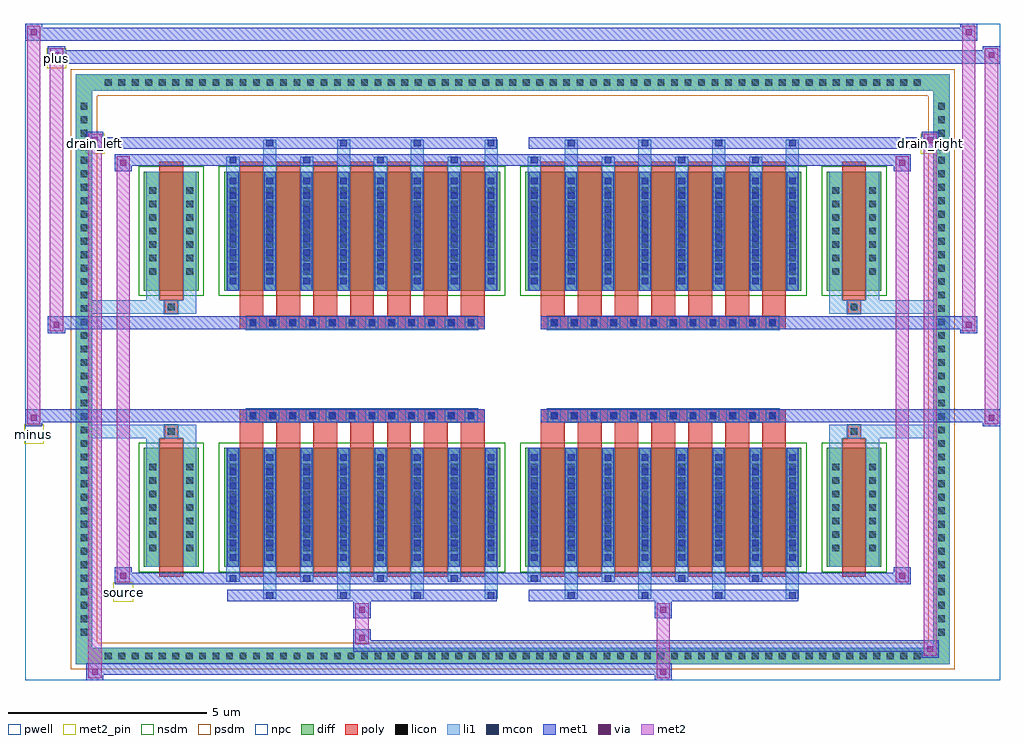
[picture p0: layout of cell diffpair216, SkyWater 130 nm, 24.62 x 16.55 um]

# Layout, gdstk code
import gdstk
lib = gdstk.Library(unit=1e-6, precision=5e-09)
def R(c, l, rs):  # rectangles x0, y0, x1, y1
    for r in rs: c.add(gdstk.rectangle(r[:2], r[2:], *l))
def A(c, l, x, y, w, h, nx, ny, dx, dy):  # array of equal rectangles
    R(c, l, [(x+i*dx, y+j*dy, x+i*dx+w, y+j*dy+h) for i in range(nx) for j in range(ny)])
def P(c, l, *ps):  # polygons
    for p in ps: c.add(gdstk.Polygon(p, *l))
pwell = (64, 44)
diff = (65, 20)
poly = (66, 20)
licon = (66, 44)
li1 = (67, 20)
mcon = (67, 44)
met1 = (68, 20)
via = (68, 44)
met2_pin = (69, 16)
met2 = (69, 20)
nsdm = (93, 44)
psdm = (94, 20)
npc = (95, 20)

diffpair216 = lib.new_cell('diffpair216')
R(diffpair216, pwell, [(-12.29,-7.84,12.29,8.71), (-9.61,-6.03,-0.01,-0.805), (0.01,-6.03,9.61,-0.805), (-9.61,0.805,-0.01,6.03), (0.01,0.805,9.61,6.03)])
A(diffpair216, diff, -10.405, -7.44, 0.41, 0.41, 61, 2, 0.34, 14.47)
A(diffpair216, diff, -11.02, -6.835, 0.41, 0.41, 1, 40, 0, 0.34)
A(diffpair216, diff, 10.61, -6.835, 0.41, 0.41, 1, 40, 0, 0.34)
R(diffpair216, diff, [(-10.405,-7.44,10.405,-7.03), (-11.02,-6.835,-10.61,6.835), (10.61,-6.835,11.02,6.835), (-9.3,-4.985,-7.92,-1.985), (-7.28,-4.985,-0.32,-1.985), (0.32,-4.985,7.28,-1.985), (7.92,-4.985,9.3,-1.985), (-9.3,1.985,-7.92,4.985), (-7.28,1.985,-0.32,4.985), (0.32,1.985,7.28,4.985), (7.92,1.985,9.3,4.985), (-10.405,7.03,10.405,7.44)])
P(diffpair216, diff, [(11.02,7.44),(-11.02,7.44),(-11.02,-7.03),(-10.61,-7.03),(-10.61,7.03),(10.61,7.03),(10.61,-7.03),(-10.61,-7.03),(-11.02,-7.03),(-11.02,-7.44),(11.02,-7.44)])
A(diffpair216, poly, -6.89, -5.235, 0.6, 3.5, 7, 2, 0.93, 6.97)
A(diffpair216, poly, 0.71, -5.235, 0.6, 3.5, 7, 2, 0.93, 6.97)
A(diffpair216, poly, -6.89, -1.735, 0.6, 0.4, 7, 2, 0.93, 3.07)
A(diffpair216, poly, 0.71, -1.735, 0.6, 0.4, 7, 2, 0.93, 3.07)
A(diffpair216, poly, -6.715, -1.335, 0.33, 0.33, 12, 2, 0.5, 2.34)
A(diffpair216, poly, 0.885, -1.335, 0.33, 0.33, 12, 2, 0.5, 2.34)
R(diffpair216, poly, [(-8.91,-5.235,-8.31,-1.735), (8.31,-5.235,8.91,-1.735), (-8.775,-1.735,-8.445,-1.405), (-8.775,-1.735,-8.445,-1.405), (8.445,-1.735,8.775,-1.405), (8.445,-1.735,8.775,-1.405), (-6.89,-1.335,-0.71,-1.005), (0.71,-1.335,6.89,-1.005), (-6.89,1.005,-0.71,1.335), (0.71,1.005,6.89,1.335), (-8.775,1.405,-8.445,1.735), (-8.775,1.405,-8.445,1.735), (8.445,1.405,8.775,1.735), (8.445,1.405,8.775,1.735), (-8.91,1.735,-8.31,5.235), (8.31,1.735,8.91,5.235)])
A(diffpair216, licon, -10.285, -7.32, 0.17, 0.17, 61, 2, 0.34, 14.47)
A(diffpair216, licon, -10.9, -6.715, 0.17, 0.17, 1, 40, 0, 0.34)
A(diffpair216, licon, 10.73, -6.715, 0.17, 0.17, 1, 40, 0, 0.34)
A(diffpair216, licon, -9.16, -4.59, 0.17, 0.17, 1, 7, 0, 0.34)
A(diffpair216, licon, -8.23, -4.59, 0.17, 0.17, 1, 7, 0, 0.34)
A(diffpair216, licon, -7.14, -4.59, 0.17, 0.17, 8, 7, 0.93, 0.34)
A(diffpair216, licon, 0.46, -4.59, 0.17, 0.17, 8, 7, 0.93, 0.34)
A(diffpair216, licon, 8.06, -4.59, 0.17, 0.17, 1, 7, 0, 0.34)
A(diffpair216, licon, 8.99, -4.59, 0.17, 0.17, 1, 7, 0, 0.34)
A(diffpair216, licon, -6.635, -1.255, 0.17, 0.17, 12, 2, 0.5, 2.34)
A(diffpair216, licon, 0.965, -1.255, 0.17, 0.17, 12, 2, 0.5, 2.34)
A(diffpair216, licon, -9.16, 2.38, 0.17, 0.17, 1, 7, 0, 0.34)
A(diffpair216, licon, -8.23, 2.38, 0.17, 0.17, 1, 7, 0, 0.34)
A(diffpair216, licon, -7.14, 2.38, 0.17, 0.17, 8, 7, 0.93, 0.34)
A(diffpair216, licon, 0.46, 2.38, 0.17, 0.17, 8, 7, 0.93, 0.34)
A(diffpair216, licon, 8.06, 2.38, 0.17, 0.17, 1, 7, 0, 0.34)
A(diffpair216, licon, 8.99, 2.38, 0.17, 0.17, 1, 7, 0, 0.34)
R(diffpair216, licon, [(-8.695,-1.655,-8.525,-1.485), (8.525,-1.655,8.695,-1.485), (-8.695,1.485,-8.525,1.655), (8.525,1.485,8.695,1.655)])
A(diffpair216, li1, -10.365, -7.4, 0.33, 0.33, 61, 2, 0.34, 14.47)
A(diffpair216, li1, -10.98, -6.795, 0.33, 0.33, 1, 40, 0, 0.34)
A(diffpair216, li1, 10.65, -6.795, 0.33, 0.33, 1, 40, 0, 0.34)
A(diffpair216, li1, -6.29, -5.79, 0.33, 0.805, 4, 2, 1.86, 10.775)
A(diffpair216, li1, -6.21, -5.79, 0.17, 0.17, 4, 2, 1.86, 11.41)
A(diffpair216, li1, 1.31, -5.79, 0.33, 0.805, 4, 2, 1.86, 10.775)
A(diffpair216, li1, 1.39, -5.79, 0.17, 0.17, 4, 2, 1.86, 11.41)
A(diffpair216, li1, -7.22, -5.36, 0.33, 0.375, 4, 2, 1.86, 10.345)
A(diffpair216, li1, -7.14, -5.36, 0.17, 0.17, 4, 2, 1.86, 10.55)
A(diffpair216, li1, 0.38, -5.36, 0.33, 0.375, 4, 2, 1.86, 10.345)
A(diffpair216, li1, 0.46, -5.36, 0.17, 0.17, 4, 2, 1.86, 10.55)
A(diffpair216, li1, -7.22, -4.985, 0.33, 3, 8, 2, 0.93, 6.97)
A(diffpair216, li1, 0.38, -4.985, 0.33, 3, 8, 2, 0.93, 6.97)
A(diffpair216, li1, -7.14, -4.83, 0.17, 0.17, 8, 8, 0.93, 0.36)
A(diffpair216, li1, -7.14, -4.83, 0.17, 2.69, 8, 2, 0.93, 6.97)
A(diffpair216, li1, 0.46, -4.83, 0.17, 0.17, 8, 8, 0.93, 0.36)
A(diffpair216, li1, 0.46, -4.83, 0.17, 2.69, 8, 2, 0.93, 6.97)
A(diffpair216, li1, -9.24, -4.67, 0.33, 0.33, 1, 7, 0, 0.34)
A(diffpair216, li1, -8.31, -4.67, 0.33, 0.33, 1, 7, 0, 0.34)
A(diffpair216, li1, -7.22, -4.67, 0.33, 0.33, 8, 7, 0.93, 0.34)
A(diffpair216, li1, 0.38, -4.67, 0.33, 0.33, 8, 7, 0.93, 0.34)
A(diffpair216, li1, 7.98, -4.67, 0.33, 0.33, 1, 7, 0, 0.34)
A(diffpair216, li1, 8.91, -4.67, 0.33, 0.33, 1, 7, 0, 0.34)
A(diffpair216, li1, -6.715, -1.335, 0.33, 0.33, 12, 2, 0.5, 2.34)
A(diffpair216, li1, 0.885, -1.335, 0.33, 0.33, 12, 2, 0.5, 2.34)
A(diffpair216, li1, -7.14, 2.14, 0.17, 0.17, 8, 8, 0.93, 0.36)
A(diffpair216, li1, 0.46, 2.14, 0.17, 0.17, 8, 8, 0.93, 0.36)
A(diffpair216, li1, -9.24, 2.3, 0.33, 0.33, 1, 7, 0, 0.34)
A(diffpair216, li1, -8.31, 2.3, 0.33, 0.33, 1, 7, 0, 0.34)
A(diffpair216, li1, -7.22, 2.3, 0.33, 0.33, 8, 7, 0.93, 0.34)
A(diffpair216, li1, 0.38, 2.3, 0.33, 0.33, 8, 7, 0.93, 0.34)
A(diffpair216, li1, 7.98, 2.3, 0.33, 0.33, 1, 7, 0, 0.34)
A(diffpair216, li1, 8.91, 2.3, 0.33, 0.33, 1, 7, 0, 0.34)
R(diffpair216, li1, [(-11.02,-7.44,-10.61,-7.03), (-11.02,-7.44,-10.61,-7.03), (-10.61,-7.44,10.61,-7.03), (10.61,-7.44,11.02,-7.03), (10.61,-7.44,11.02,-7.03), (-11.02,-7.03,-10.61,7.03), (10.61,-7.03,11.02,7.03), (-9.24,-4.985,-8.91,-1.985), (-8.31,-4.985,-7.98,-1.985), (7.98,-4.985,8.31,-1.985), (8.91,-4.985,9.24,-1.985), (-9.24,-1.985,-8.91,-1.405), (-8.31,-1.985,-7.98,-1.405), (7.98,-1.985,8.31,-1.405), (8.91,-1.985,9.24,-1.405), (-11.02,-1.735,-8.775,-1.405), (-9.24,-1.735,-8.775,-1.405), (-8.775,-1.735,-8.445,-1.405), (-8.445,-1.735,-7.98,-1.405), (7.98,-1.735,8.445,-1.405), (8.445,-1.735,8.775,-1.405), (8.445,-1.735,11.02,-1.405), (8.775,-1.735,9.24,-1.405), (-11.02,1.405,-8.775,1.735), (-9.24,1.405,-8.775,1.735), (-9.24,1.405,-8.91,1.985), (-8.775,1.405,-8.445,1.735), (-8.445,1.405,-7.98,1.735), (-8.31,1.405,-7.98,1.985), (7.98,1.405,8.445,1.735), (7.98,1.405,8.31,1.985), (8.445,1.405,8.775,1.735), (8.445,1.405,11.02,1.735), (8.775,1.405,9.24,1.735), (8.91,1.405,9.24,1.985), (-9.24,1.985,-8.91,4.985), (-8.31,1.985,-7.98,4.985), (7.98,1.985,8.31,4.985), (8.91,1.985,9.24,4.985), (-11.02,7.03,-10.61,7.44), (-11.02,7.03,-10.61,7.44), (-10.61,7.03,10.61,7.44), (10.61,7.03,11.02,7.44), (10.61,7.03,11.02,7.44)])
A(diffpair216, mcon, -6.21, -5.79, 0.17, 0.17, 4, 2, 1.86, 11.41)
A(diffpair216, mcon, 1.39, -5.79, 0.17, 0.17, 4, 2, 1.86, 11.41)
A(diffpair216, mcon, -7.14, -5.36, 0.17, 0.17, 4, 2, 1.86, 10.55)
A(diffpair216, mcon, 0.46, -5.36, 0.17, 0.17, 4, 2, 1.86, 10.55)
A(diffpair216, mcon, -7.14, -4.83, 0.17, 0.17, 8, 8, 0.93, 0.36)
A(diffpair216, mcon, 0.46, -4.83, 0.17, 0.17, 8, 8, 0.93, 0.36)
A(diffpair216, mcon, -6.635, -1.255, 0.17, 0.17, 12, 2, 0.5, 2.34)
A(diffpair216, mcon, 0.965, -1.255, 0.17, 0.17, 12, 2, 0.5, 2.34)
A(diffpair216, mcon, -7.14, 2.14, 0.17, 0.17, 8, 8, 0.93, 0.36)
A(diffpair216, mcon, 0.46, 2.14, 0.17, 0.17, 8, 8, 0.93, 0.36)
A(diffpair216, met1, -6.27, -5.85, 0.29, 0.29, 4, 2, 1.86, 11.41)
A(diffpair216, met1, 1.33, -5.85, 0.29, 0.29, 4, 2, 1.86, 11.41)
A(diffpair216, met1, -7.2, -5.42, 0.29, 0.29, 4, 2, 1.86, 10.55)
A(diffpair216, met1, 0.4, -5.42, 0.29, 0.29, 4, 2, 1.86, 10.55)
A(diffpair216, met1, -7.2, -4.985, 0.29, 3, 8, 2, 0.93, 6.97)
A(diffpair216, met1, 0.4, -4.985, 0.29, 3, 8, 2, 0.93, 6.97)
A(diffpair216, met1, -7.2, -4.89, 0.29, 0.29, 8, 8, 0.93, 0.36)
A(diffpair216, met1, 0.4, -4.89, 0.29, 0.29, 8, 8, 0.93, 0.36)
A(diffpair216, met1, -6.695, -1.315, 0.29, 0.29, 12, 2, 0.5, 2.34)
A(diffpair216, met1, 0.905, -1.315, 0.29, 0.29, 12, 2, 0.5, 2.34)
A(diffpair216, met1, -7.2, 2.08, 0.29, 0.29, 8, 8, 0.93, 0.36)
A(diffpair216, met1, 0.4, 2.08, 0.29, 0.29, 8, 8, 0.93, 0.36)
R(diffpair216, met1, [(-10.75,-7.84,-10.32,-7.41), (3.585,-7.84,4.015,-7.41), (-10.75,-7.7,4.015,-7.41), (10.32,-7.27,10.75,-6.84), (-4.015,-7.13,10.75,-6.84), (-4.015,-6.99,-3.585,-6.56), (-4.015,-6.28,-3.585,-5.85), (3.585,-6.28,4.015,-5.85), (-7.2,-5.85,-0.4,-5.56), (0.4,-5.85,7.2,-5.56), (-10.04,-5.42,-9.61,-4.99), (-10.04,-5.42,-7.2,-5.13), (-7.2,-5.42,-0.4,-5.13), (-0.4,-5.42,0.4,-5.13), (0.4,-5.42,7.2,-5.13), (7.2,-5.42,10.04,-5.13), (9.61,-5.42,10.04,-4.99), (-12.29,-1.435,-11.86,-1.005), (11.86,-1.435,12.29,-1.005), (-12.29,-1.335,-0.71,-1.005), (-6.89,-1.335,-0.71,-1.005), (0.71,-1.335,6.89,-1.005), (0.71,-1.335,12.29,-1.005), (-11.72,0.905,-11.29,1.335), (11.29,0.905,11.72,1.335), (-11.72,1.005,-6.89,1.335), (-6.89,1.005,-0.71,1.335), (0.71,1.005,6.89,1.335), (6.89,1.005,11.72,1.335), (-10.04,4.99,-9.61,5.42), (9.61,4.99,10.04,5.42), (-10.04,5.13,-7.2,5.42), (-7.2,5.13,-0.4,5.42), (-0.4,5.13,0.4,5.42), (0.4,5.13,7.2,5.42), (7.2,5.13,10.04,5.42), (-10.75,5.56,-10.32,5.99), (-10.75,5.56,-7.2,5.85), (-7.2,5.56,-0.4,5.85), (0.4,5.56,7.2,5.85), (7.2,5.56,10.75,5.85), (10.32,5.56,10.75,5.99), (-11.72,7.71,-11.29,8.14), (-11.72,7.71,-9.61,8.04), (-9.61,7.71,9.61,8.04), (9.61,7.71,12.29,8.04), (11.86,7.71,12.29,8.14), (-12.29,8.28,-11.86,8.71), (-12.29,8.28,-9.61,8.61), (-9.61,8.28,9.61,8.61), (9.61,8.28,11.72,8.61), (11.29,8.28,11.72,8.71)])
R(diffpair216, via, [(-10.61,-7.7,-10.46,-7.55), (3.725,-7.7,3.875,-7.55), (10.46,-7.13,10.61,-6.98), (-3.875,-6.85,-3.725,-6.7), (-3.875,-6.14,-3.725,-5.99), (3.725,-6.14,3.875,-5.99), (-9.9,-5.28,-9.75,-5.13), (9.75,-5.28,9.9,-5.13), (-12.15,-1.295,-12,-1.145), (12,-1.295,12.15,-1.145), (-11.58,1.045,-11.43,1.195), (11.43,1.045,11.58,1.195), (-9.9,5.13,-9.75,5.28), (9.75,5.13,9.9,5.28), (-10.61,5.7,-10.46,5.85), (10.46,5.7,10.61,5.85), (-11.58,7.85,-11.43,8), (12,7.85,12.15,8), (-12.15,8.42,-12,8.57), (11.43,8.42,11.58,8.57)])
R(diffpair216, met2_pin, [(-10.075,-5.87,-9.575,-5.37), (-12.325,-1.885,-11.825,-1.385), (-10.785,5.44,-10.285,5.94), (10.285,5.44,10.785,5.94), (-11.755,7.59,-11.255,8.09)])
R(diffpair216, met2, [(-10.7,-7.79,-10.37,-7.46), (-10.7,-7.79,-10.37,5.94), (3.635,-7.79,3.965,-7.46), (3.635,-7.46,3.965,-6.23), (10.37,-7.22,10.7,-6.89), (10.37,-7.22,10.7,5.94), (-3.965,-6.94,-3.635,-6.61), (-3.965,-6.61,-3.635,-6.23), (-3.965,-6.23,-3.635,-5.9), (3.635,-6.23,3.965,-5.9), (-9.99,-5.37,-9.66,-5.04), (-9.99,-5.37,-9.66,5.37), (9.66,-5.37,9.99,-5.04), (9.66,-5.37,9.99,5.37), (-12.24,-1.385,-11.91,-1.055), (-12.24,-1.385,-11.91,8.66), (11.91,-1.385,12.24,-1.055), (11.91,-1.385,12.24,8.09), (-11.67,0.955,-11.34,1.285), (-11.67,0.955,-11.34,8.09), (11.34,0.955,11.67,1.285), (11.34,0.955,11.67,8.66), (-9.99,5.04,-9.66,5.37), (9.66,5.04,9.99,5.37), (-10.7,5.61,-10.37,5.94), (10.37,5.61,10.7,5.94), (-11.67,7.76,-11.34,8.09), (11.91,7.76,12.24,8.09), (-12.24,8.33,-11.91,8.66), (11.34,8.33,11.67,8.66)])
P(diffpair216, met2, [(12.24,-1.385),(12.24,-1.385),(12.24,-1.055),(12.24,-1.055)],
  [(12.24,7.76),(12.24,7.76),(12.24,8.09),(12.24,8.09)],
  [(-11.91,-1.385),(-11.91,-1.385),(-11.91,-1.055),(-11.91,-1.055)],
  [(-11.91,8.33),(-11.91,8.33),(-11.91,8.66),(-11.91,8.66)],
  [(11.67,0.955),(11.67,0.955),(11.67,1.285),(11.67,1.285)],
  [(11.67,8.33),(11.67,8.33),(11.67,8.66),(11.67,8.66)],
  [(-11.34,0.955),(-11.34,0.955),(-11.34,1.285),(-11.34,1.285)],
  [(-11.34,7.76),(-11.34,7.76),(-11.34,8.09),(-11.34,8.09)],
  [(-10.37,-7.79),(-10.37,-7.79),(-10.37,-7.46),(-10.37,-7.46)],
  [(-10.37,5.61),(-10.37,5.61),(-10.37,5.94),(-10.37,5.94)],
  [(10.7,-7.22),(10.7,-7.22),(10.7,-6.89),(10.7,-6.89)],
  [(10.7,5.61),(10.7,5.61),(10.7,5.94),(10.7,5.94)],
  [(-9.66,-5.37),(-9.66,-5.37),(-9.66,-5.04),(-9.66,-5.04)],
  [(-9.66,5.04),(-9.66,5.04),(-9.66,5.37),(-9.66,5.37)],
  [(9.99,-5.37),(9.99,-5.37),(9.99,-5.04),(9.99,-5.04)],
  [(9.99,5.04),(9.99,5.04),(9.99,5.37),(9.99,5.37)])
R(diffpair216, nsdm, [(-9.43,-5.115,-7.79,-1.855), (-7.41,-5.115,-0.19,-1.855), (0.19,-5.115,7.41,-1.855), (7.79,-5.115,9.43,-1.855), (-9.43,1.855,-7.79,5.115), (-7.41,1.855,-0.19,5.115), (0.19,1.855,7.41,5.115), (7.79,1.855,9.43,5.115)])
P(diffpair216, psdm, [(11.15,7.57),(-11.15,7.57),(-11.15,-6.9),(-10.48,-6.9),(-10.48,6.9),(10.48,6.9),(10.48,-6.9),(-10.48,-6.9),(-11.15,-6.9),(-11.15,-7.57),(11.15,-7.57)])
A(diffpair216, npc, -6.735, -1.355, 0.37, 0.37, 12, 2, 0.5, 2.34)
A(diffpair216, npc, 0.865, -1.355, 0.37, 0.37, 12, 2, 0.5, 2.34)
R(diffpair216, npc, [(-8.795,-1.755,-8.425,-1.385), (8.425,-1.755,8.795,-1.385), (-6.735,-1.355,-5.865,-0.985), (-6.735,-1.355,-5.865,-0.985), (-6.235,-1.355,-5.365,-0.985), (-6.235,-1.355,-5.365,-0.985), (-5.735,-1.355,-4.865,-0.985), (-5.735,-1.355,-4.865,-0.985), (-5.235,-1.355,-4.365,-0.985), (-5.235,-1.355,-4.365,-0.985), (-4.735,-1.355,-3.865,-0.985), (-4.735,-1.355,-3.865,-0.985), (-4.235,-1.355,-3.365,-0.985), (-4.235,-1.355,-3.365,-0.985), (-3.735,-1.355,-2.865,-0.985), (-3.735,-1.355,-2.865,-0.985), (-3.235,-1.355,-2.365,-0.985), (-3.235,-1.355,-2.365,-0.985), (-2.735,-1.355,-1.865,-0.985), (-2.735,-1.355,-1.865,-0.985), (-2.235,-1.355,-1.365,-0.985), (-2.235,-1.355,-1.365,-0.985), (-1.735,-1.355,-0.865,-0.985), (-1.735,-1.355,-0.865,-0.985), (0.865,-1.355,1.735,-0.985), (0.865,-1.355,1.735,-0.985), (1.365,-1.355,2.235,-0.985), (1.365,-1.355,2.235,-0.985), (1.865,-1.355,2.735,-0.985), (1.865,-1.355,2.735,-0.985), (2.365,-1.355,3.235,-0.985), (2.365,-1.355,3.235,-0.985), (2.865,-1.355,3.735,-0.985), (2.865,-1.355,3.735,-0.985), (3.365,-1.355,4.235,-0.985), (3.365,-1.355,4.235,-0.985), (3.865,-1.355,4.735,-0.985), (3.865,-1.355,4.735,-0.985), (4.365,-1.355,5.235,-0.985), (4.365,-1.355,5.235,-0.985), (4.865,-1.355,5.735,-0.985), (4.865,-1.355,5.735,-0.985), (5.365,-1.355,6.235,-0.985), (5.365,-1.355,6.235,-0.985), (5.865,-1.355,6.735,-0.985), (5.865,-1.355,6.735,-0.985), (-6.735,0.985,-5.865,1.355), (-6.735,0.985,-5.865,1.355), (-6.235,0.985,-5.365,1.355), (-6.235,0.985,-5.365,1.355), (-5.735,0.985,-4.865,1.355), (-5.735,0.985,-4.865,1.355), (-5.235,0.985,-4.365,1.355), (-5.235,0.985,-4.365,1.355), (-4.735,0.985,-3.865,1.355), (-4.735,0.985,-3.865,1.355), (-4.235,0.985,-3.365,1.355), (-4.235,0.985,-3.365,1.355), (-3.735,0.985,-2.865,1.355), (-3.735,0.985,-2.865,1.355), (-3.235,0.985,-2.365,1.355), (-3.235,0.985,-2.365,1.355), (-2.735,0.985,-1.865,1.355), (-2.735,0.985,-1.865,1.355), (-2.235,0.985,-1.365,1.355), (-2.235,0.985,-1.365,1.355), (-1.735,0.985,-0.865,1.355), (-1.735,0.985,-0.865,1.355), (0.865,0.985,1.735,1.355), (0.865,0.985,1.735,1.355), (1.365,0.985,2.235,1.355), (1.365,0.985,2.235,1.355), (1.865,0.985,2.735,1.355), (1.865,0.985,2.735,1.355), (2.365,0.985,3.235,1.355), (2.365,0.985,3.235,1.355), (2.865,0.985,3.735,1.355), (2.865,0.985,3.735,1.355), (3.365,0.985,4.235,1.355), (3.365,0.985,4.235,1.355), (3.865,0.985,4.735,1.355), (3.865,0.985,4.735,1.355), (4.365,0.985,5.235,1.355), (4.365,0.985,5.235,1.355), (4.865,0.985,5.735,1.355), (4.865,0.985,5.735,1.355), (5.365,0.985,6.235,1.355), (5.365,0.985,6.235,1.355), (5.865,0.985,6.735,1.355), (5.865,0.985,6.735,1.355), (-8.795,1.385,-8.425,1.755), (8.425,1.385,8.795,1.755)])
diffpair216.add(gdstk.Label('minus', (-12.075,-1.635), layer=69, texttype=5))
diffpair216.add(gdstk.Label('drain_right', (10.535,5.69), layer=69, texttype=5))
diffpair216.add(gdstk.Label('drain_left', (-10.535,5.69), layer=69, texttype=5))
diffpair216.add(gdstk.Label('source', (-9.825,-5.62), layer=69, texttype=5))
diffpair216.add(gdstk.Label('plus', (-11.505,7.84), layer=69, texttype=5))

lib.write_gds('diffpair216.gds')
